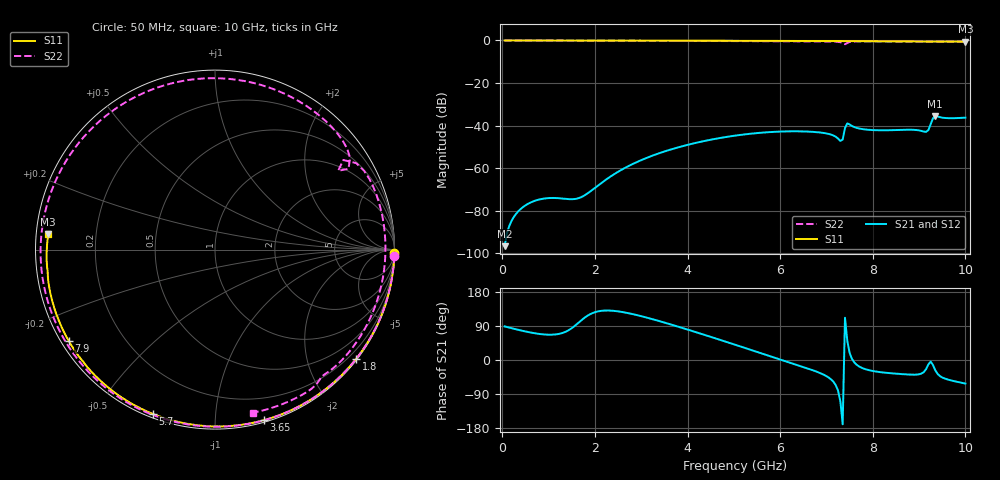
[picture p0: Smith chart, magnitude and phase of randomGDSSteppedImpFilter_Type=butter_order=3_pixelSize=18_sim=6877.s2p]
! freq	dB(S11)	phase(S11)	dB(S12)	phase(S12)
!  dB(S21)	phase(S21)	dB(S22)	phase(S22)
!S-par simulation data
#  GHz  S  DB  R 50
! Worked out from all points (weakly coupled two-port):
!   200 points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, 50 MHz to 10 GHz, reference 50 ohm
!   highest |S21| = -35.71 dB at 9.35 GHz (marker M1); lowest = -96.7 dB at 50 MHz (marker M2)
!   lowest |S11| = -0.6 dB at 10 GHz (marker M3), VSWR 28.97, Z = 1.73 + j2.33 ohm
!   |S11| at or under -10 dB: nowhere
!   |S22| runs from -1.8 to 0.0 dB; largest |S21 - S12| = 0
!   S11 on the Smith chart (normalised r, x): 50 MHz: open; 1.8 GHz: 0.03, -2.93; 3.65 GHz: 0.02, -1.33; 5.7 GHz: 0.02, -0.69; 7.9 GHz: 0.02, -0.29; 10 GHz: 0.03, +0.05
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0.05  -0.00 -1.1  -96.74 88.6  -96.74 88.6  -0.00 -2.1
0.35  -0.01 -7.5  -80.23 79.4  -80.23 79.4  -0.02 -14.4
0.8  -0.02 -16.9  -74.77 68.7  -74.77 68.7  -0.04 -32.9
1.75  -0.05 -36.6  -73.19 109.0  -73.19 109.0  -0.09 -71.0
1.8  -0.05 -37.7  -72.54 113.6  -72.54 113.6  -0.09 -73.0
2.6  -0.07 -53.7  -60.52 126.4  -60.52 126.4  -0.13 -104.4
3.4  -0.09 -69.2  -52.94 102.3  -52.94 102.3  -0.17 -135.9
3.65  -0.10 -73.9  -51.20 93.4  -51.20 93.4  -0.19 -145.9
4.4  -0.13 -87.8  -47.11 65.0  -47.11 65.0  -0.24 -177.2
5.05  -0.15 -99.4  -44.69 39.4  -44.69 39.4  -0.30 153.7
5.7  -0.19 -110.7  -43.21 13.4  -43.21 13.4  -0.35 122.0
6.2  -0.22 -119.3  -42.74 -6.5  -42.74 -6.5  -0.39 95.9
6.7  -0.25 -127.8  -42.97 -26.9  -42.97 -26.9  -0.43 68.8
7.3  -0.30 -138.0  -47.25 -109.1  -47.25 -109.1  -0.82 34.2
7.35  -0.31 -138.8  -46.58 -169.8  -46.58 -169.8  -1.21 31.2
7.4  -0.32 -139.6  -41.18 111.5  -41.18 111.5  -1.78 32.6
7.45  -0.32 -140.4  -38.98 50.3  -38.98 50.3  -1.19 34.9
7.9  -0.35 -148.1  -42.00 -26.3  -42.00 -26.3  -0.44 8.1
8.35  -0.40 -155.8  -42.23 -34.5  -42.23 -34.5  -0.47 -13.5
9.15  -0.49 -169.9  -42.99 -24.4  -42.99 -24.4  -0.63 -46.9
9.35  -0.53 -173.3  -35.71 -27.2  -35.71 -27.2  -0.53 -53.2
10  -0.60 174.7  -36.30 -62.2  -36.30 -62.2  -0.60 -76.7
